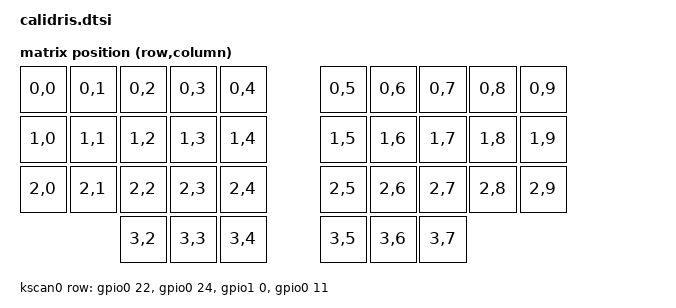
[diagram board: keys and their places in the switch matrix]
#include <dt-bindings/zmk/matrix_transform.h>
#include "calidris_layouts.dtsi"

/ {
    chosen {
        zmk,kscan = &kscan0;
        zmk,layout = &physical_layout0;
    };

    aliases {
        led-red = &led0;
        led-green = &led1;
        led-blue = &led2;
    };

    leds {
        compatible = "gpio-leds";
        status = "okay";
        led0: led_0 {
            gpios = <&gpio0 26 GPIO_ACTIVE_LOW>;  // red LED, connected to P0.26
        };
        led1: led_1 {
            gpios = <&gpio0 30 GPIO_ACTIVE_LOW>;  // green LED, connected to P0.30
        };
        led2: led_2 {
            gpios = <&gpio0 6 GPIO_ACTIVE_LOW>;  // blue LED, connected to P0.06
        };
    };

    default_transform: keymap_transform_0 {
        compatible = "zmk,matrix-transform";
        columns = <10>;
        rows = <4>;
        map = <
            RC(0,0) RC(0,1) RC(0,2) RC(0,3) RC(0,4)     RC(0,5) RC(0,6) RC(0,7) RC(0,8) RC(0,9)
            RC(1,0) RC(1,1) RC(1,2) RC(1,3) RC(1,4)     RC(1,5) RC(1,6) RC(1,7) RC(1,8) RC(1,9)
            RC(2,0) RC(2,1) RC(2,2) RC(2,3) RC(2,4)     RC(2,5) RC(2,6) RC(2,7) RC(2,8) RC(2,9)
                            RC(3,2) RC(3,3) RC(3,4)     RC(3,5) RC(3,6) RC(3,7)
        >;
    };

    kscan0: kscan {
        compatible = "zmk,kscan-gpio-matrix";
        diode-direction = "col2row";
        wakeup-source;

        row-gpios
            = <&gpio0  22 (GPIO_ACTIVE_HIGH | GPIO_PULL_DOWN)>
            , <&gpio0 24 (GPIO_ACTIVE_HIGH | GPIO_PULL_DOWN)> 
            , <&gpio1  0 (GPIO_ACTIVE_HIGH | GPIO_PULL_DOWN)>
            , <&gpio0  11 (GPIO_ACTIVE_HIGH | GPIO_PULL_DOWN)>
            ;

    };
};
